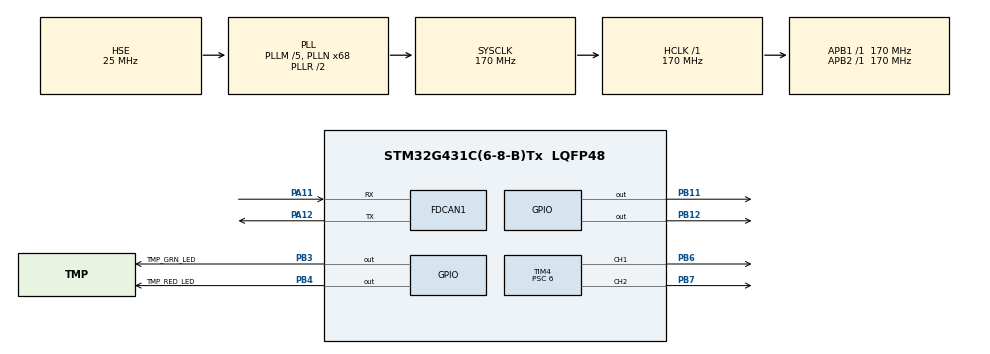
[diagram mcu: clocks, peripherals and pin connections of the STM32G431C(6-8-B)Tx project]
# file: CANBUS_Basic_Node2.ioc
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FDCAN1.CalculateBaudRateNominal=1000000
FDCAN1.CalculateTimeBitNominal=1000
FDCAN1.CalculateTimeQuantumNominal=100.0
FDCAN1.ClockDivider=FDCAN_CLOCK_DIV1
FDCAN1.NominalPrescaler=17
FDCAN1.NominalTimeSeg1=7
FDCAN1.NominalTimeSeg2=2
FREERTOS.Mutexes01=CanardlibMutex,Dynamic,NULL,Available
FREERTOS.Tasks01=CanStatus,16,256,StartCanStatus,Default,NULL,Dynamic,NULL,NULL;CanRx,40,512,StartCanRx,Default,NULL,Dynamic,NULL,NULL;CanTx,32,256,StartCanTx,Default,NULL,Dynamic,NULL,NULL;EscStatus,24,256,StartEscStatus,Default,NULL,Dynamic,NULL,NULL;LedBlink,15,128,StartLedBlink,Default,NULL,Dynamic,NULL,NULL
FREERTOS.configMINIMAL_STACK_SIZE=128
FREERTOS.configTOTAL_HEAP_SIZE=9144
Mcu.Family=STM32G4
Mcu.Name=STM32G431C(6-8-B)Tx
Mcu.Package=LQFP48
NVIC.FDCAN1_IT0_IRQn=true\:5\:0\:false\:false\:true\:true\:true\:true\:true
NVIC.PriorityGroup=NVIC_PRIORITYGROUP_4
NVIC.TIM7_IRQn=true\:15\:0\:false\:false\:true\:false\:false\:true\:true
NVIC.TimeBase=TIM7_IRQn
NVIC.TimeBaseIP=TIM7
PA11.Mode=FDCAN_Activate
PA11.Signal=FDCAN1_RX
PA12.Mode=FDCAN_Activate
PA12.Signal=FDCAN1_TX
PA13.Mode=Serial_Wire
PA13.Signal=SYS_JTMS-SWDIO
PA14.Mode=Serial_Wire
PA14.Signal=SYS_JTCK-SWCLK
PB11.Signal=GPIO_Output
PB12.Signal=GPIO_Output
PB3.GPIO_Label=TMP_GRN_LED
PB3.Signal=GPIO_Output
PB4.GPIO_Label=TMP_RED_LED
PB4.Signal=GPIO_Output
PB6.Signal=S_TIM4_CH1
PB7.Signal=S_TIM4_CH2
PF0-OSC_IN.Mode=HSE-External-Oscillator
PF0-OSC_IN.Signal=RCC_OSC_IN
PF1-OSC_OUT.Mode=HSE-External-Oscillator
PF1-OSC_OUT.Signal=RCC_OSC_OUT
ProjectManager.HeapSize=0x200
ProjectManager.StackSize=0x400
ProjectManager.TargetToolchain=CMake
RCC.ADC12Freq_Value=170000000
RCC.AHBFreq_Value=170000000
RCC.APB1Freq_Value=170000000
RCC.APB1TimFreq_Value=170000000
RCC.APB2Freq_Value=170000000
RCC.APB2TimFreq_Value=170000000
RCC.CortexFreq_Value=170000000
RCC.EXTERNAL_CLOCK_VALUE=12288000
RCC.HCLKFreq_Value=170000000
RCC.HSE_VALUE=25000000
RCC.HSI48_VALUE=48000000
RCC.HSI_VALUE=16000000
RCC.LSE_VALUE=32768
RCC.PLLM=RCC_PLLM_DIV5
RCC.PLLN=68
RCC.PLLSourceVirtual=RCC_PLLSOURCE_HSE
RCC.SYSCLKFreq_VALUE=170000000
RCC.SYSCLKSource=RCC_SYSCLKSOURCE_PLLCLK
RCC.USBFreq_Value=170000000
RCC.VCOOutputFreq_Value=340000000
SH.S_TIM4_CH1.0=TIM4_CH1,PWM Generation1 CH1
SH.S_TIM4_CH2.0=TIM4_CH2,PWM Generation2 CH2
TIM4.Channel-PWM\ Generation1\ CH1=TIM_CHANNEL_1
TIM4.Channel-PWM\ Generation2\ CH2=TIM_CHANNEL_2
TIM4.PeriodNoDither=60713
TIM4.Prescaler=6
TIM4.PulseNoDither_1=0
TIM4.PulseNoDither_2=0
VP_FREERTOS_VS_CMSIS_V2.Mode=CMSIS_V2
VP_SYS_VS_DBSignals.Mode=DisableDeadBatterySignals
VP_SYS_VS_tim7.Mode=TIM7
board=custom

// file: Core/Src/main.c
/* USER CODE BEGIN Header */
/**
  ******************************************************************************
  * @file           : main.c
  * @brief          : Main program body
  ******************************************************************************
  * @attention
  *
  * Copyright (c) 2026 STMicroelectronics.
  * All rights reserved.
  *
  * This software is licensed under terms that can be found in the LICENSE file
  * in the root directory of this software component.
  * If no LICENSE file comes with this software, it is provided AS-IS.
  *
  ******************************************************************************
  */
/* USER CODE END Header */
#include "main.h"
#include "cmsis_os.h"

/* USER CODE BEGIN Includes */
#include "can_esc.h"
#include "cmsis_os2.h"
#include "portmacro.h"
#include "projdefs.h"
#include "stm32_hal_legacy.h"
#include "stm32g431xx.h"
#include "stm32g4xx_hal.h"
#include "stm32g4xx_hal_fdcan.h"
#include "stm32g4xx_hal_gpio.h"
#include "stm32g4xx_hal_tim.h"
/* USER CODE END Includes */

FDCAN_HandleTypeDef hfdcan1;

TIM_HandleTypeDef htim4;

/* Definitions for CanStatus */
osThreadId_t CanStatusHandle;
const osThreadAttr_t CanStatus_attributes = {
  .name = "CanStatus",
  .priority = (osPriority_t) osPriorityBelowNormal,
  .stack_size = 256 * 4
};
/* Definitions for CanRx */
osThreadId_t CanRxHandle;
const osThreadAttr_t CanRx_attributes = {
  .name = "CanRx",
  .priority = (osPriority_t) osPriorityHigh,
  .stack_size = 512 * 4
};
/* Definitions for CanTx */
osThreadId_t CanTxHandle;
const osThreadAttr_t CanTx_attributes = {
  .name = "CanTx",
  .priority = (osPriority_t) osPriorityAboveNormal,
  .stack_size = 256 * 4
};
/* Definitions for EscStatus */
osThreadId_t EscStatusHandle;
const osThreadAttr_t EscStatus_attributes = {
  .name = "EscStatus",
  .priority = (osPriority_t) osPriorityNormal,
  .stack_size = 256 * 4
};
/* Definitions for LedBlink */
osThreadId_t LedBlinkHandle;
const osThreadAttr_t LedBlink_attributes = {
  .name = "LedBlink",
  .priority = (osPriority_t) osPriorityLow7,
  .stack_size = 128 * 4
};
/* Definitions for CanardlibMutex */
osMutexId_t CanardlibMutexHandle;
const osMutexAttr_t CanardlibMutex_attributes = {
  .name = "CanardlibMutex"
};

void SystemClock_Config(void);
static void MX_GPIO_Init(void);
static void MX_FDCAN1_Init(void);
static void MX_TIM4_Init(void);
void StartCanStatus(void *argument);
void StartCanRx(void *argument);
void StartCanTx(void *argument);
void StartEscStatus(void *argument);
void StartLedBlink(void *argument);

/* USER CODE BEGIN 0 */

// Convert can esc output to pwm
uint16_t esc_raw_to_pwm(int16_t raw)
{
    // raw is [-8192 .. 8191], map to [ESC_PWM_MIN_US .. ESC_PWM_MAX_US]
    // Clamp to [0, 8191] for unidirectional ESCs (most drone ESCs)
    if (raw < 0) raw = -raw;
    uint32_t pwm = ESC_PWM_MIN_US + ((uint32_t)raw * (ESC_PWM_MAX_US - ESC_PWM_MIN_US)) / 8191;
    return (uint16_t)pwm;
}

// Called whenever new ESC commands are received.
void esc_set_output(uint8_t esc_index, int16_t raw_value)
{
    uint16_t ccr = esc_raw_to_pwm(raw_value) * 60714 / 2500;

    if (esc_index == 0){
        __HAL_TIM_SET_COMPARE(&htim4, TIM_CHANNEL_1, ccr);
    }

    if (esc_index == 1){
        __HAL_TIM_SET_COMPARE(&htim4, TIM_CHANNEL_2, ccr);
    }

}

/* USER CODE END 0 */

int main(void)
{

  /* MCU Configuration--------------------------------------------------------*/

  /* Reset of all peripherals, Initializes the Flash interface and the Systick. */
  HAL_Init();

  /* Configure the system clock */
  SystemClock_Config();

  /* Initialize all configured peripherals */
  MX_GPIO_Init();
  MX_FDCAN1_Init();
  MX_TIM4_Init();
  /* USER CODE BEGIN 2 */

  // Setup canbus interupt
  HAL_FDCAN_ConfigInterruptLines(&hfdcan1, FDCAN_IT_GROUP_RX_FIFO0, FDCAN_INTERRUPT_LINE0);
  HAL_FDCAN_ActivateNotification(&hfdcan1, FDCAN_IT_RX_FIFO0_NEW_MESSAGE, 0);

  // Initialize dronecan
  can_node_init(&hfdcan1);

  // Start Canbus
  HAL_FDCAN_Start(&hfdcan1);

  // Commented out for testing on a specific pcb
  // HAL_TIM_PWM_Start(&htim4, TIM_CHANNEL_1);
  // HAL_TIM_PWM_Start(&htim4, TIM_CHANNEL_2);

  /* USER CODE END 2 */

  /* Init scheduler */
  osKernelInitialize();
  /* Create the mutex(es) */
  /* creation of CanardlibMutex */
  CanardlibMutexHandle = osMutexNew(&CanardlibMutex_attributes);

  /* Create the thread(s) */
  /* creation of CanStatus */
  CanStatusHandle = osThreadNew(StartCanStatus, NULL, &CanStatus_attributes);

  /* creation of CanRx */
  CanRxHandle = osThreadNew(StartCanRx, NULL, &CanRx_attributes);

  /* creation of CanTx */
  CanTxHandle = osThreadNew(StartCanTx, NULL, &CanTx_attributes);

  /* creation of EscStatus */
  EscStatusHandle = osThreadNew(StartEscStatus, NULL, &EscStatus_attributes);

  /* creation of LedBlink */
  LedBlinkHandle = osThreadNew(StartLedBlink, NULL, &LedBlink_attributes);

  /* Start scheduler */
  osKernelStart();

  /* We should never get here as control is now taken by the scheduler */

  /* Infinite loop */
  /* USER CODE BEGIN WHILE */

  // Initialize can
  // can_node_init(&hfdcan1);

  // Initialize motor pwm

  while (1)
  {
    // 10hz task
    // send_esc_status();

    // 1hz task
    // can_node_1hz_tasks();

    // 1hz task blink led
    // To implement

    // Can handling
    // can_node_update();

    /* USER CODE END WHILE */

  }
}

void SystemClock_Config(void)
{
  RCC_OscInitTypeDef RCC_OscInitStruct = {0};
  RCC_ClkInitTypeDef RCC_ClkInitStruct = {0};

  /** Configure the main internal regulator output voltage
  */
  HAL_PWREx_ControlVoltageScaling(PWR_REGULATOR_VOLTAGE_SCALE1_BOOST);

  /** Initializes the RCC Oscillators according to the specified parameters
  * in the RCC_OscInitTypeDef structure.
  */
  RCC_OscInitStruct.OscillatorType = RCC_OSCILLATORTYPE_HSE;
  RCC_OscInitStruct.HSEState = RCC_HSE_ON;
  RCC_OscInitStruct.PLL.PLLState = RCC_PLL_ON;
  RCC_OscInitStruct.PLL.PLLSource = RCC_PLLSOURCE_HSE;
  RCC_OscInitStruct.PLL.PLLM = RCC_PLLM_DIV5;
  RCC_OscInitStruct.PLL.PLLN = 68;
  RCC_OscInitStruct.PLL.PLLP = RCC_PLLP_DIV2;
  RCC_OscInitStruct.PLL.PLLQ = RCC_PLLQ_DIV2;
  RCC_OscInitStruct.PLL.PLLR = RCC_PLLR_DIV2;
  if (HAL_RCC_OscConfig(&RCC_OscInitStruct) != HAL_OK)
  {
    Error_Handler();
  }

  /** Initializes the CPU, AHB and APB buses clocks
  */
  RCC_ClkInitStruct.ClockType = RCC_CLOCKTYPE_HCLK|RCC_CLOCKTYPE_SYSCLK
                              |RCC_CLOCKTYPE_PCLK1|RCC_CLOCKTYPE_PCLK2;
  RCC_ClkInitStruct.SYSCLKSource = RCC_SYSCLKSOURCE_PLLCLK;
  RCC_ClkInitStruct.AHBCLKDivider = RCC_SYSCLK_DIV1;
  RCC_ClkInitStruct.APB1CLKDivider = RCC_HCLK_DIV1;
  RCC_ClkInitStruct.APB2CLKDivider = RCC_HCLK_DIV1;

  if (HAL_RCC_ClockConfig(&RCC_ClkInitStruct, FLASH_LATENCY_4) != HAL_OK)
  {
    Error_Handler();
  }
}

static void MX_FDCAN1_Init(void)
{

  hfdcan1.Instance = FDCAN1;
  hfdcan1.Init.ClockDivider = FDCAN_CLOCK_DIV1;
  hfdcan1.Init.FrameFormat = FDCAN_FRAME_CLASSIC;
  hfdcan1.Init.Mode = FDCAN_MODE_NORMAL;
  hfdcan1.Init.AutoRetransmission = DISABLE;
  hfdcan1.Init.TransmitPause = DISABLE;
  hfdcan1.Init.ProtocolException = DISABLE;
  hfdcan1.Init.NominalPrescaler = 17;
  hfdcan1.Init.NominalSyncJumpWidth = 1;
  hfdcan1.Init.NominalTimeSeg1 = 7;
  hfdcan1.Init.NominalTimeSeg2 = 2;
  hfdcan1.Init.DataPrescaler = 1;
  hfdcan1.Init.DataSyncJumpWidth = 1;
  hfdcan1.Init.DataTimeSeg1 = 1;
  hfdcan1.Init.DataTimeSeg2 = 1;
  hfdcan1.Init.StdFiltersNbr = 0;
  hfdcan1.Init.ExtFiltersNbr = 0;
  hfdcan1.Init.TxFifoQueueMode = FDCAN_TX_FIFO_OPERATION;
  if (HAL_FDCAN_Init(&hfdcan1) != HAL_OK)
  {
    Error_Handler();
  }

}

static void MX_TIM4_Init(void)
{

  TIM_MasterConfigTypeDef sMasterConfig = {0};
  TIM_OC_InitTypeDef sConfigOC = {0};

  htim4.Instance = TIM4;
  htim4.Init.Prescaler = 6;
  htim4.Init.CounterMode = TIM_COUNTERMODE_UP;
  htim4.Init.Period = 60713;
  htim4.Init.ClockDivision = TIM_CLOCKDIVISION_DIV1;
  htim4.Init.AutoReloadPreload = TIM_AUTORELOAD_PRELOAD_DISABLE;
  if (HAL_TIM_PWM_Init(&htim4) != HAL_OK)
  {
    Error_Handler();
  }
  sMasterConfig.MasterOutputTrigger = TIM_TRGO_RESET;
  sMasterConfig.MasterSlaveMode = TIM_MASTERSLAVEMODE_DISABLE;
  if (HAL_TIMEx_MasterConfigSynchronization(&htim4, &sMasterConfig) != HAL_OK)
  {
    Error_Handler();
  }
  sConfigOC.OCMode = TIM_OCMODE_PWM1;
  sConfigOC.Pulse = 0;
  sConfigOC.OCPolarity = TIM_OCPOLARITY_HIGH;
  sConfigOC.OCFastMode = TIM_OCFAST_DISABLE;
  if (HAL_TIM_PWM_ConfigChannel(&htim4, &sConfigOC, TIM_CHANNEL_1) != HAL_OK)
  {
    Error_Handler();
  }
  if (HAL_TIM_PWM_ConfigChannel(&htim4, &sConfigOC, TIM_CHANNEL_2) != HAL_OK)
  {
    Error_Handler();
  }
  HAL_TIM_MspPostInit(&htim4);

}

static void MX_GPIO_Init(void)
{
  GPIO_InitTypeDef GPIO_InitStruct = {0};

  /* GPIO Ports Clock Enable */
  __HAL_RCC_GPIOF_CLK_ENABLE();
  __HAL_RCC_GPIOB_CLK_ENABLE();
  __HAL_RCC_GPIOA_CLK_ENABLE();

  /*Configure GPIO pin Output Level */
  HAL_GPIO_WritePin(GPIOB, GPIO_PIN_11|GPIO_PIN_12|TMP_GRN_LED_Pin|TMP_RED_LED_Pin, GPIO_PIN_RESET);

  /*Configure GPIO pins : PB11 PB12 TMP_GRN_LED_Pin TMP_RED_LED_Pin */
  GPIO_InitStruct.Pin = GPIO_PIN_11|GPIO_PIN_12|TMP_GRN_LED_Pin|TMP_RED_LED_Pin;
  GPIO_InitStruct.Mode = GPIO_MODE_OUTPUT_PP;
  GPIO_InitStruct.Pull = GPIO_NOPULL;
  GPIO_InitStruct.Speed = GPIO_SPEED_FREQ_LOW;
  HAL_GPIO_Init(GPIOB, &GPIO_InitStruct);

}

/* USER CODE BEGIN 4 */

// Canbus hardware interupt
void HAL_FDCAN_RxFifo0Callback(FDCAN_HandleTypeDef *hfdcan, uint32_t flags){
  (void) flags;

  // Run library function to clear can buffer to ring buffer
  can_node_rx_isr(hfdcan);

  // Notify rx task to run
  BaseType_t woken = pdFALSE;
  vTaskNotifyGiveFromISR(CanRxHandle, &woken);
  portYIELD_FROM_ISR(woken);
}

// Now handle FreeRTOS functions (which get called by the FDCAN_interupt)

/* USER CODE END 4 */

void StartCanStatus(void *argument)
{
  /* USER CODE BEGIN 5 */
  (void) argument;
  uint32_t ticks = osKernelGetTickCount();
  /* Infinite loop */
  for(;;)
  {
    // Delay must be at start
    ticks += 1000U;
    osDelayUntil(ticks);

    // Call mutex
    if (osMutexAcquire(CanardlibMutexHandle, osWaitForever) == osOK)
    {
      can_node_1hz_tasks();

      osMutexRelease(CanardlibMutexHandle);
    }

      // Start can tx task
      xTaskNotifyGive(CanTxHandle);

  }
  /* USER CODE END 5 */
}

void StartCanRx(void *argument)
{
  /* USER CODE BEGIN StartCanRx */
  (void) argument;

  // Variable for tracking if node id aquired
  uint8_t can_id_status = 0;
  // Make LED RED
  HAL_GPIO_WritePin(TMP_RED_LED_GPIO_Port, TMP_RED_LED_Pin, GPIO_PIN_SET);
  while(can_id_status != 1) {

    // Thread safe delay, precision not required
    osDelay(20);

    if(osMutexAcquire(CanardlibMutexHandle, osWaitForever) == osOK)
    {
      // Process incoming messages
      while(can_node_dequeue_and_process()) {}

      // Try to get dynamic node, return 2 to send, 1 if recieved and 0 if not
      can_id_status = can_node_poll_dna();

      if (can_id_status == 2)
      {
        xTaskNotifyGive(CanTxHandle);
      }

      osMutexRelease(CanardlibMutexHandle);

    }

  }

  // Turn off red led - Node aquired
  HAL_GPIO_WritePin(TMP_RED_LED_GPIO_Port, TMP_RED_LED_Pin, GPIO_PIN_RESET);

  /* Infinite loop */
  for(;;)
  {
    ulTaskNotifyTake(pdTRUE, portMAX_DELAY);

    if (osMutexAcquire(CanardlibMutexHandle, osWaitForever) == osOK)
    {
      // Process canbus rx frames
      while(can_node_dequeue_and_process()) {}
      osMutexRelease(CanardlibMutexHandle);
    }

      // Start can tx task
      xTaskNotifyGive(CanTxHandle);

  }
  /* USER CODE END StartCanRx */
}

void StartCanTx(void *argument)
{
  /* USER CODE BEGIN StartCanTx */
  /* Infinite loop */
  for(;;)
  {
    ulTaskNotifyTake(pdTRUE, portMAX_DELAY);
    if(osMutexAcquire(CanardlibMutexHandle, osWaitForever) == osOK)
    {
      can_node_flush_tx();
      osMutexRelease(CanardlibMutexHandle);
    }
  }
  /* USER CODE END StartCanTx */
}

void StartEscStatus(void *argument)
{
  /* USER CODE BEGIN StartEscStatus */
  (void) argument;
  uint32_t ticks = osKernelGetTickCount();

  /* Infinite loop */
  for(;;)
  {
    // Must be at start to avoid mutexacquire delay
    ticks += 100U;
    osDelayUntil(ticks);

    // Call mutex
    if (osMutexAcquire(CanardlibMutexHandle, osWaitForever) == osOK)
    {
      send_esc_status();

      osMutexRelease(CanardlibMutexHandle);
    }

      // Start can tx task
      xTaskNotifyGive(CanTxHandle);

  }
  /* USER CODE END StartEscStatus */
}

void StartLedBlink(void *argument)
{
  /* USER CODE BEGIN StartLedBlink */
  /* Infinite loop */
  for(;;)
  {
    // Blink heartbeat led, using osDelay as precision not needed
    HAL_GPIO_WritePin(TMP_GRN_LED_GPIO_Port, TMP_GRN_LED_Pin, GPIO_PIN_SET);
    osDelay(200);
    HAL_GPIO_WritePin(TMP_GRN_LED_GPIO_Port, TMP_GRN_LED_Pin, GPIO_PIN_RESET);
    osDelay(800);
  }
  /* USER CODE END StartLedBlink */
}

void HAL_TIM_PeriodElapsedCallback(TIM_HandleTypeDef *htim)
{
  if (htim->Instance == TIM7)
  {
    HAL_IncTick();
  }
}

void Error_Handler(void)
{
  __disable_irq();
  while (1)
  {
  }
}
